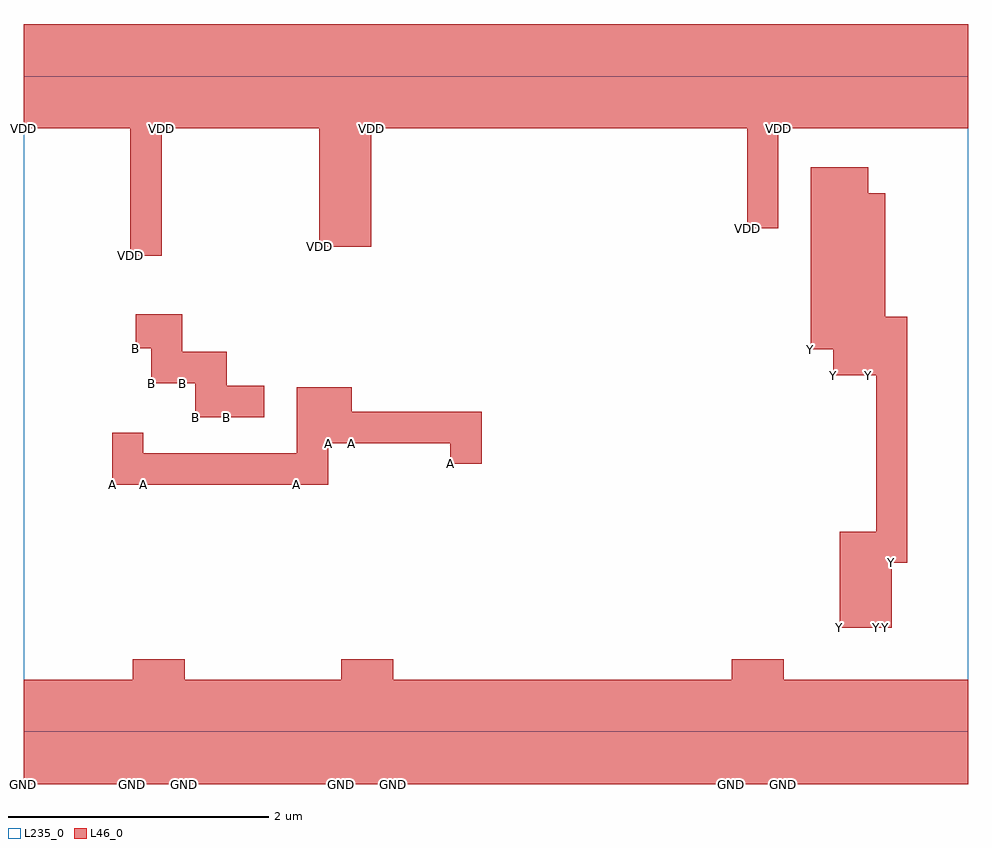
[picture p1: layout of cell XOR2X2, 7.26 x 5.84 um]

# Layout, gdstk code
import gdstk
lib = gdstk.Library(unit=1e-6, precision=1e-09)
def R(c, l, rs):  # rectangles x0, y0, x1, y1
    for r in rs: c.add(gdstk.rectangle(r[:2], r[2:], *l))
L46_0 = (46, 0)
L235_0 = (235, 0)

xor2x2 = lib.new_cell('XOR2X2')
R(xor2x2, L46_0, [(0,-0.4,0.84,0.4), (0.84,-0.4,1.24,0.56), (1.24,-0.4,2.44,0.4), (2.44,-0.4,2.84,0.56), (2.84,-0.4,5.44,0.4), (5.44,-0.4,5.84,0.56), (5.84,-0.4,7.26,0.4), (6.27,0.8,6.55,1.54), (6.55,0.8,6.62,4.14), (6.62,0.8,6.67,3.19), (6.67,1.3,6.79,3.19), (0.68,1.9,0.92,2.3), (0.92,1.9,2.1,2.14), (2.1,1.9,2.34,2.65), (3.28,2.06,3.52,2.46), (2.34,2.22,2.52,2.65), (2.52,2.22,3.28,2.46), (1.32,2.42,1.56,2.92), (1.56,2.42,1.85,2.66), (0.98,2.68,1.22,3.21), (1.22,2.68,1.32,2.92), (6.22,2.74,6.49,4.34), (6.49,2.74,6.55,4.14), (6.05,2.94,6.22,4.34), (0.86,2.95,0.98,3.21), (0.82,3.66,1.06,5.44), (2.27,3.73,2.67,5.44), (5.56,3.87,5.8,5.44), (0,4.64,0.82,5.44), (1.06,4.64,2.27,5.44), (2.67,4.64,5.56,5.44), (5.8,4.64,7.26,5.44)])
R(xor2x2, L235_0, [(0,0,7.26,5.04)])
xor2x2.add(gdstk.Label('Y', (6.67,1.3), layer=101, texttype=0))
xor2x2.add(gdstk.Label('Y', (6.62,0.8), layer=101, texttype=0))
xor2x2.add(gdstk.Label('Y', (6.55,0.8), layer=101, texttype=0))
xor2x2.add(gdstk.Label('Y', (6.27,0.8), layer=101, texttype=0))
xor2x2.add(gdstk.Label('Y', (6.49,2.74), layer=101, texttype=0))
xor2x2.add(gdstk.Label('Y', (6.22,2.74), layer=101, texttype=0))
xor2x2.add(gdstk.Label('Y', (6.05,2.94), layer=101, texttype=0))
xor2x2.add(gdstk.Label('B', (1.56,2.42), layer=101, texttype=0))
xor2x2.add(gdstk.Label('B', (1.32,2.42), layer=101, texttype=0))
xor2x2.add(gdstk.Label('B', (1.22,2.68), layer=101, texttype=0))
xor2x2.add(gdstk.Label('B', (0.98,2.68), layer=101, texttype=0))
xor2x2.add(gdstk.Label('B', (0.86,2.95), layer=101, texttype=0))
xor2x2.add(gdstk.Label('A', (3.28,2.06), layer=101, texttype=0))
xor2x2.add(gdstk.Label('A', (2.52,2.22), layer=101, texttype=0))
xor2x2.add(gdstk.Label('A', (2.34,2.22), layer=101, texttype=0))
xor2x2.add(gdstk.Label('A', (2.1,1.9), layer=101, texttype=0))
xor2x2.add(gdstk.Label('A', (0.92,1.9), layer=101, texttype=0))
xor2x2.add(gdstk.Label('A', (0.68,1.9), layer=101, texttype=0))
xor2x2.add(gdstk.Label('VDD', (5.8,4.64), layer=101, texttype=0))
xor2x2.add(gdstk.Label('VDD', (5.56,3.87), layer=101, texttype=0))
xor2x2.add(gdstk.Label('VDD', (2.67,4.64), layer=101, texttype=0))
xor2x2.add(gdstk.Label('VDD', (2.27,3.73), layer=101, texttype=0))
xor2x2.add(gdstk.Label('VDD', (1.06,4.64), layer=101, texttype=0))
xor2x2.add(gdstk.Label('VDD', (0.82,3.66), layer=101, texttype=0))
xor2x2.add(gdstk.Label('VDD', (0,4.64), layer=101, texttype=0))
xor2x2.add(gdstk.Label('GND', (5.84,-0.4), layer=101, texttype=0))
xor2x2.add(gdstk.Label('GND', (5.44,-0.4), layer=101, texttype=0))
xor2x2.add(gdstk.Label('GND', (2.84,-0.4), layer=101, texttype=0))
xor2x2.add(gdstk.Label('GND', (2.44,-0.4), layer=101, texttype=0))
xor2x2.add(gdstk.Label('GND', (1.24,-0.4), layer=101, texttype=0))
xor2x2.add(gdstk.Label('GND', (0.84,-0.4), layer=101, texttype=0))
xor2x2.add(gdstk.Label('GND', (0,-0.4), layer=101, texttype=0))

lib.write_gds('XOR2X2.gds')
